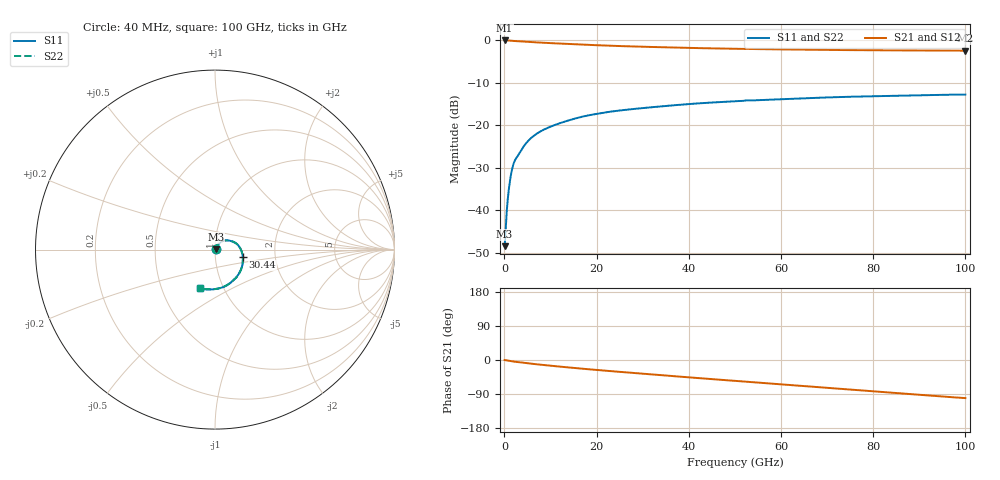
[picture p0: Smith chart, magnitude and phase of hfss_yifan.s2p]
! Touchstone file exported from HFSS 2022.2.0
!  File:  C:/Users/dkcdn/Downloads/ViaModelMaterials/SimulationModel/HFSS/single_via_freq_dep_12mil_2port.aedt
!  Generated:  5:49:05 PM  Oct 23, 2024
!  Design:  HFSSDesign1
!  Project:  single_via_freq_dep_12mil_2port
!  Setup:  Setup1
!  Solution:  Sweep
! Variables:
!  apad = 4mil
!  bantipad = 15mil
!  dk = 3.5
!  hudie = 15.3mil
!  rvia = 4mil
!  tgnd = 1.3mil
# GHz S MA R 50.000000
! Terminal data exported
! Port[1] = via_T2
! Port[2] = via_T1
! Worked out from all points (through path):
!   2500 points, 40 MHz to 100 GHz, reference 50 ohm
!   highest |S21| = -0.03 dB at 40 MHz (marker M1); lowest = -2.4 dB at 100 GHz (marker M2)
!   group delay of S21, straight-line fit = 2.66 ps
!   lowest |S11| = -48.5 dB at 40 MHz (marker M3), VSWR 1.01, Z = 50.4 + j0.0733 ohm
!   |S11| at or under -10 dB: start of sweep to end of sweep
!   |S22| runs from -48.5 to -12.8 dB; largest |S21 - S12| = 5.2e-15
!   S11 on the Smith chart (normalised r, x): 40 MHz: 1.01, +0.00; 30.44 GHz: 1.36, -0.12; 100 GHz: 0.78, -0.35
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0.04  0.003769 11.1  0.9963 -0.1  0.9963 -0.1  0.003769 11.1
! Gamma 0.0562484981236622 1.6825413314758 0.0562443699710713 1.68254404236973
! Port Impedance 50 0 50 0
0.32  0.006796 53.8  0.9959 -0.7  0.9959 -0.7  0.006796 53.8
0.72  0.01337 67.5  0.9948 -1.5  0.9948 -1.5  0.01337 67.5
0.92  0.01692 68.9  0.994 -2.0  0.994 -2.0  0.01692 68.9
1.24  0.02277 68.5  0.9919 -2.6  0.9919 -2.6  0.02277 68.5
1.56  0.02856 66.1  0.989 -3.3  0.989 -3.3  0.02856 66.1
1.92  0.03437 61.8  0.9847 -4.0  0.9847 -4.0  0.03437 61.8
2.28  0.03863 57.6  0.9804 -4.5  0.9804 -4.5  0.03863 57.6
3.96  0.05414 52.0  0.9696 -7.1  0.9696 -7.1  0.05414 52.0
4.8  0.06237 48.6  0.9621 -8.4  0.9621 -8.4  0.06236 48.6
5.76  0.07054 44.7  0.9543 -9.7  0.9543 -9.7  0.07053 44.8
8.16  0.08659 36.2  0.9378 -12.8  0.9378 -12.8  0.08658 36.2
11.8  0.1047 26.3  0.917 -17.2  0.917 -17.2  0.1047 26.3
16.72  0.1255 14.7  0.8917 -22.8  0.8917 -22.8  0.1254 14.7
22.6  0.1436 0.8  0.865 -28.9  0.865 -28.9  0.1435 0.8
30.44  0.1601 -15.0  0.8392 -36.6  0.8392 -36.6  0.16 -14.9
33.36  0.1656 -20.3  0.8312 -39.5  0.8312 -39.5  0.1656 -20.2
41.4  0.1799 -34.3  0.8111 -47.1  0.8111 -47.1  0.1798 -34.3
50.04  0.1914 -48.5  0.7951 -55.1  0.7951 -55.1  0.1913 -48.4
66.68  0.2094 -71.8  0.7742 -70.4  0.7742 -70.4  0.2091 -71.7
83.36  0.2212 -92.4  0.762 -85.5  0.762 -85.5  0.2208 -92.3
100  0.2298 -111.2  0.7552 -100.5  0.7552 -100.5  0.2294 -111.1
